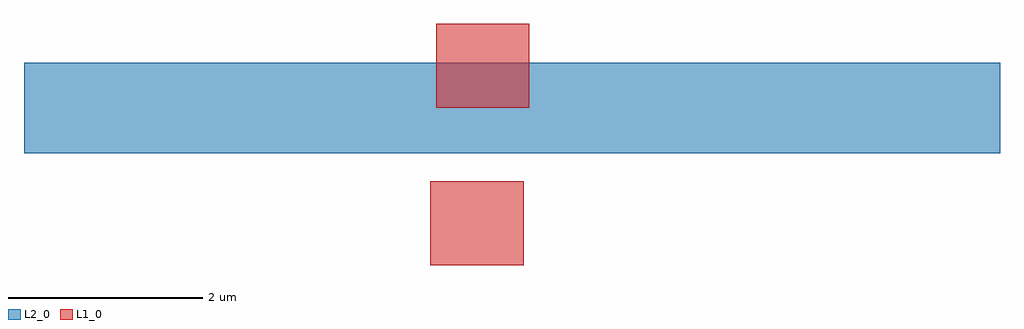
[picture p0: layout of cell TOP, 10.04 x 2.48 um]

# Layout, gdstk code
import gdstk
lib = gdstk.Library(unit=1e-6, precision=1e-09)
def R(c, l, rs):  # rectangles x0, y0, x1, y1
    for r in rs: c.add(gdstk.rectangle(r[:2], r[2:], *l))
def A(c, l, x, y, w, h, nx, ny, dx, dy):  # array of equal rectangles
    R(c, l, [(x+i*dx, y+j*dy, x+i*dx+w, y+j*dy+h) for i in range(nx) for j in range(ny)])
L1_0 = (1, 0)
L2_0 = (2, 0)

top = lib.new_cell('TOP')
R(top, L1_0, [(-0.44,-0.37,0.52,0.49), (-0.38,1.25,0.58,2.11)])
A(top, L2_0, -4.62, 0.78, 1.04, 0.93, 10, 1, 1, 0)

lib.write_gds('TOP.gds')
